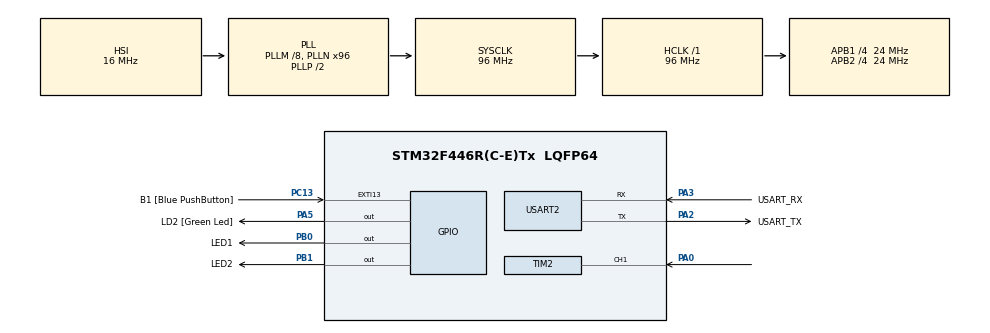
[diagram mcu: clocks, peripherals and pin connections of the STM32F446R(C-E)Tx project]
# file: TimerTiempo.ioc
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Mcu.Family=STM32F4
Mcu.Name=STM32F446R(C-E)Tx
Mcu.Package=LQFP64
NVIC.PriorityGroup=NVIC_PRIORITYGROUP_0
NVIC.TIM2_IRQn=true\:0\:0\:false\:false\:true\:true\:true\:true
NVIC.TIM6_DAC_IRQn=true\:0\:0\:false\:false\:true\:true\:true\:true
NVIC.TIM7_IRQn=true\:0\:0\:false\:false\:true\:true\:true\:true
PA0-WKUP.Signal=S_TIM2_CH1_ETR
PA13.GPIO_Label=TMS
PA13.Signal=SYS_JTMS-SWDIO
PA14.GPIO_Label=TCK
PA14.Signal=SYS_JTCK-SWCLK
PA2.GPIO_Label=USART_TX
PA2.Mode=Asynchronous
PA2.Signal=USART2_TX
PA3.GPIO_Label=USART_RX
PA3.Mode=Asynchronous
PA3.Signal=USART2_RX
PA5.GPIO_Label=LD2 [Green Led]
PA5.Signal=GPIO_Output
PB0.GPIO_Label=LED1
PB0.Signal=GPIO_Output
PB1.GPIO_Label=LED2
PB1.Signal=GPIO_Output
PB3.GPIO_Label=SWO
PB3.Signal=SYS_JTDO-SWO
PC13.GPIO_Label=B1 [Blue PushButton]
PC13.GPIO_ModeDefaultEXTI=GPIO_MODE_IT_FALLING
PC13.Signal=GPXTI13
PC14-OSC32_IN.Signal=RCC_OSC32_IN
PC15-OSC32_OUT.Signal=RCC_OSC32_OUT
PH0-OSC_IN.Signal=RCC_OSC_IN
PH1-OSC_OUT.Signal=RCC_OSC_OUT
ProjectManager.HeapSize=0x200
ProjectManager.StackSize=0x400
ProjectManager.TargetToolchain=STM32CubeIDE
RCC.AHBFreq_Value=96000000
RCC.APB1CLKDivider=RCC_HCLK_DIV4
RCC.APB1Freq_Value=24000000
RCC.APB1TimFreq_Value=48000000
RCC.APB2CLKDivider=RCC_HCLK_DIV4
RCC.APB2Freq_Value=24000000
RCC.APB2TimFreq_Value=48000000
RCC.CortexFreq_Value=96000000
RCC.FLatency-AdvancedSettings=FLASH_LATENCY_3
RCC.HCLKFreq_Value=96000000
RCC.HSE_VALUE=8000000
RCC.HSI_VALUE=16000000
RCC.LSE_VALUE=32768
RCC.PLLM=8
RCC.PLLN=96
RCC.SYSCLKFreq_VALUE=96000000
RCC.SYSCLKSource=RCC_SYSCLKSOURCE_PLLCLK
RCC.USBFreq_Value=96000000
RCC.VCOOutputFreq_Value=192000000
SH.S_TIM2_CH1_ETR.0=TIM2_CH1,Input_Capture1_from_TI1
TIM2.AutoReloadPreload=TIM_AUTORELOAD_PRELOAD_ENABLE
TIM2.Channel-Input_Capture1_from_TI1=TIM_CHANNEL_1
TIM2.Prescaler=48-1
TIM6.AutoReloadPreload=TIM_AUTORELOAD_PRELOAD_ENABLE
TIM6.Period=249
TIM6.Prescaler=47999
TIM7.AutoReloadPreload=TIM_AUTORELOAD_PRELOAD_ENABLE
TIM7.Period=999
TIM7.Prescaler=47999
USART2.VirtualMode=VM_ASYNC
VP_TIM2_VS_ClockSourceINT.Mode=Internal
VP_TIM6_VS_ClockSourceINT.Mode=Enable_Timer
VP_TIM7_VS_ClockSourceINT.Mode=Enable_Timer
board=NUCLEO-F446RE

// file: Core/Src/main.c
/* USER CODE BEGIN Header */
/**
  ******************************************************************************
  * @file           : main.c
  * @brief          : Main program body
  ******************************************************************************
  * @attention
  *
  * Copyright (c) 2026 STMicroelectronics.
  * All rights reserved.
  *
  * This software is licensed under terms that can be found in the LICENSE file
  * in the root directory of this software component.
  * If no LICENSE file comes with this software, it is provided AS-IS.
  *
  ******************************************************************************
  */
/* USER CODE END Header */
#include "main.h"

/* USER CODE BEGIN Includes */
#include <stdio.h>
#include <string.h>
/* USER CODE END Includes */

/* USER CODE BEGIN PD */

#define ftimclk 1000000

/* USER CODE END PD */

TIM_HandleTypeDef htim2;
TIM_HandleTypeDef htim6;
TIM_HandleTypeDef htim7;

UART_HandleTypeDef huart2;

/* USER CODE BEGIN PV */
volatile uint8_t flagMedicion = 0;
volatile uint8_t numFlanco = 0;
volatile uint32_t flanco1 = 0;
volatile uint32_t flanco2 = 0;
uint32_t delta = 0;
float frecuencia = 0;
/* USER CODE END PV */

void SystemClock_Config(void);
static void MX_GPIO_Init(void);
static void MX_TIM2_Init(void);
static void MX_USART2_UART_Init(void);
static void MX_TIM6_Init(void);
static void MX_TIM7_Init(void);

int main(void)
{

  /* MCU Configuration--------------------------------------------------------*/

  /* Reset of all peripherals, Initializes the Flash interface and the Systick. */
  HAL_Init();

  /* Configure the system clock */
  SystemClock_Config();

  /* Initialize all configured peripherals */
  MX_GPIO_Init();
  MX_TIM2_Init();
  MX_USART2_UART_Init();
  MX_TIM6_Init();
  MX_TIM7_Init();

  /* USER CODE BEGIN 2 */
  HAL_TIM_IC_Start_IT(&htim2, TIM_CHANNEL_1);
  HAL_TIM_Base_Start_IT(&htim6);
  HAL_TIM_Base_Start_IT(&htim7);
  /* USER CODE END 2 */

  /* Infinite loop */
  while (1)
  {

    /* USER CODE BEGIN 3 */
      if (flagMedicion == 1)
      {
          flagMedicion = 0;

          if (flanco2 > flanco1)
              delta = flanco2 - flanco1;
          else
              delta = (0xFFFFFFFFU - flanco1) + flanco2 + 1;

          frecuencia = ftimclk / (float)delta;

          char msg[64];
          sprintf(msg, "Frecuencia: %.2f Hz\r\n", frecuencia);
          HAL_UART_Transmit(&huart2, (uint8_t*)msg, strlen(msg), HAL_MAX_DELAY);

          HAL_TIM_IC_Start_IT(&htim2, TIM_CHANNEL_1);
      }
  /* USER CODE END 3 */
  }
}

void SystemClock_Config(void)
{
  RCC_OscInitTypeDef RCC_OscInitStruct = {0};
  RCC_ClkInitTypeDef RCC_ClkInitStruct = {0};

  /** Configure the main internal regulator output voltage
  */
  __HAL_RCC_PWR_CLK_ENABLE();
  __HAL_PWR_VOLTAGESCALING_CONFIG(PWR_REGULATOR_VOLTAGE_SCALE3);

  /** Initializes the RCC Oscillators according to the specified parameters
  * in the RCC_OscInitTypeDef structure.
  */
  RCC_OscInitStruct.OscillatorType = RCC_OSCILLATORTYPE_HSI;
  RCC_OscInitStruct.HSIState = RCC_HSI_ON;
  RCC_OscInitStruct.HSICalibrationValue = RCC_HSICALIBRATION_DEFAULT;
  RCC_OscInitStruct.PLL.PLLState = RCC_PLL_ON;
  RCC_OscInitStruct.PLL.PLLSource = RCC_PLLSOURCE_HSI;
  RCC_OscInitStruct.PLL.PLLM = 8;
  RCC_OscInitStruct.PLL.PLLN = 96;
  RCC_OscInitStruct.PLL.PLLP = RCC_PLLP_DIV2;
  RCC_OscInitStruct.PLL.PLLQ = 2;
  RCC_OscInitStruct.PLL.PLLR = 2;
  if (HAL_RCC_OscConfig(&RCC_OscInitStruct) != HAL_OK)
  {
    Error_Handler();
  }

  /** Initializes the CPU, AHB and APB buses clocks
  */
  RCC_ClkInitStruct.ClockType = RCC_CLOCKTYPE_HCLK|RCC_CLOCKTYPE_SYSCLK
                              |RCC_CLOCKTYPE_PCLK1|RCC_CLOCKTYPE_PCLK2;
  RCC_ClkInitStruct.SYSCLKSource = RCC_SYSCLKSOURCE_PLLCLK;
  RCC_ClkInitStruct.AHBCLKDivider = RCC_SYSCLK_DIV1;
  RCC_ClkInitStruct.APB1CLKDivider = RCC_HCLK_DIV4;
  RCC_ClkInitStruct.APB2CLKDivider = RCC_HCLK_DIV4;

  if (HAL_RCC_ClockConfig(&RCC_ClkInitStruct, FLASH_LATENCY_3) != HAL_OK)
  {
    Error_Handler();
  }
}

static void MX_TIM2_Init(void)
{

  TIM_ClockConfigTypeDef sClockSourceConfig = {0};
  TIM_MasterConfigTypeDef sMasterConfig = {0};
  TIM_IC_InitTypeDef sConfigIC = {0};

  htim2.Instance = TIM2;
  htim2.Init.Prescaler = 48-1;
  htim2.Init.CounterMode = TIM_COUNTERMODE_UP;
  htim2.Init.Period = 4294967295;
  htim2.Init.ClockDivision = TIM_CLOCKDIVISION_DIV1;
  htim2.Init.AutoReloadPreload = TIM_AUTORELOAD_PRELOAD_ENABLE;
  if (HAL_TIM_Base_Init(&htim2) != HAL_OK)
  {
    Error_Handler();
  }
  sClockSourceConfig.ClockSource = TIM_CLOCKSOURCE_INTERNAL;
  if (HAL_TIM_ConfigClockSource(&htim2, &sClockSourceConfig) != HAL_OK)
  {
    Error_Handler();
  }
  if (HAL_TIM_IC_Init(&htim2) != HAL_OK)
  {
    Error_Handler();
  }
  sMasterConfig.MasterOutputTrigger = TIM_TRGO_RESET;
  sMasterConfig.MasterSlaveMode = TIM_MASTERSLAVEMODE_DISABLE;
  if (HAL_TIMEx_MasterConfigSynchronization(&htim2, &sMasterConfig) != HAL_OK)
  {
    Error_Handler();
  }
  sConfigIC.ICPolarity = TIM_INPUTCHANNELPOLARITY_RISING;
  sConfigIC.ICSelection = TIM_ICSELECTION_DIRECTTI;
  sConfigIC.ICPrescaler = TIM_ICPSC_DIV1;
  sConfigIC.ICFilter = 0;
  if (HAL_TIM_IC_ConfigChannel(&htim2, &sConfigIC, TIM_CHANNEL_1) != HAL_OK)
  {
    Error_Handler();
  }

}

static void MX_TIM6_Init(void)
{

  TIM_MasterConfigTypeDef sMasterConfig = {0};

  htim6.Instance = TIM6;
  htim6.Init.Prescaler = 47999;
  htim6.Init.CounterMode = TIM_COUNTERMODE_UP;
  htim6.Init.Period = 249;
  htim6.Init.AutoReloadPreload = TIM_AUTORELOAD_PRELOAD_ENABLE;
  if (HAL_TIM_Base_Init(&htim6) != HAL_OK)
  {
    Error_Handler();
  }
  sMasterConfig.MasterOutputTrigger = TIM_TRGO_RESET;
  sMasterConfig.MasterSlaveMode = TIM_MASTERSLAVEMODE_DISABLE;
  if (HAL_TIMEx_MasterConfigSynchronization(&htim6, &sMasterConfig) != HAL_OK)
  {
    Error_Handler();
  }

}

static void MX_TIM7_Init(void)
{

  TIM_MasterConfigTypeDef sMasterConfig = {0};

  htim7.Instance = TIM7;
  htim7.Init.Prescaler = 47999;
  htim7.Init.CounterMode = TIM_COUNTERMODE_UP;
  htim7.Init.Period = 999;
  htim7.Init.AutoReloadPreload = TIM_AUTORELOAD_PRELOAD_ENABLE;
  if (HAL_TIM_Base_Init(&htim7) != HAL_OK)
  {
    Error_Handler();
  }
  sMasterConfig.MasterOutputTrigger = TIM_TRGO_RESET;
  sMasterConfig.MasterSlaveMode = TIM_MASTERSLAVEMODE_DISABLE;
  if (HAL_TIMEx_MasterConfigSynchronization(&htim7, &sMasterConfig) != HAL_OK)
  {
    Error_Handler();
  }

}

static void MX_USART2_UART_Init(void)
{

  huart2.Instance = USART2;
  huart2.Init.BaudRate = 115200;
  huart2.Init.WordLength = UART_WORDLENGTH_8B;
  huart2.Init.StopBits = UART_STOPBITS_1;
  huart2.Init.Parity = UART_PARITY_NONE;
  huart2.Init.Mode = UART_MODE_TX_RX;
  huart2.Init.HwFlowCtl = UART_HWCONTROL_NONE;
  huart2.Init.OverSampling = UART_OVERSAMPLING_16;
  if (HAL_UART_Init(&huart2) != HAL_OK)
  {
    Error_Handler();
  }

}

static void MX_GPIO_Init(void)
{
  GPIO_InitTypeDef GPIO_InitStruct = {0};

  /* GPIO Ports Clock Enable */
  __HAL_RCC_GPIOC_CLK_ENABLE();
  __HAL_RCC_GPIOH_CLK_ENABLE();
  __HAL_RCC_GPIOA_CLK_ENABLE();
  __HAL_RCC_GPIOB_CLK_ENABLE();

  /*Configure GPIO pin Output Level */
  HAL_GPIO_WritePin(LD2_GPIO_Port, LD2_Pin, GPIO_PIN_RESET);

  /*Configure GPIO pin Output Level */
  HAL_GPIO_WritePin(GPIOB, LED1_Pin|LED2_Pin, GPIO_PIN_RESET);

  /*Configure GPIO pin : B1_Pin */
  GPIO_InitStruct.Pin = B1_Pin;
  GPIO_InitStruct.Mode = GPIO_MODE_IT_FALLING;
  GPIO_InitStruct.Pull = GPIO_NOPULL;
  HAL_GPIO_Init(B1_GPIO_Port, &GPIO_InitStruct);

  /*Configure GPIO pin : LD2_Pin */
  GPIO_InitStruct.Pin = LD2_Pin;
  GPIO_InitStruct.Mode = GPIO_MODE_OUTPUT_PP;
  GPIO_InitStruct.Pull = GPIO_NOPULL;
  GPIO_InitStruct.Speed = GPIO_SPEED_FREQ_LOW;
  HAL_GPIO_Init(LD2_GPIO_Port, &GPIO_InitStruct);

  /*Configure GPIO pins : LED1_Pin LED2_Pin */
  GPIO_InitStruct.Pin = LED1_Pin|LED2_Pin;
  GPIO_InitStruct.Mode = GPIO_MODE_OUTPUT_PP;
  GPIO_InitStruct.Pull = GPIO_NOPULL;
  GPIO_InitStruct.Speed = GPIO_SPEED_FREQ_LOW;
  HAL_GPIO_Init(GPIOB, &GPIO_InitStruct);

}

/* USER CODE BEGIN 4 */
void HAL_TIM_PeriodElapsedCallback(TIM_HandleTypeDef *htim)
{
    if (htim->Instance == TIM6)
    {
        HAL_GPIO_TogglePin(LED1_GPIO_Port, LED1_Pin);
    }
    else if (htim->Instance == TIM7)
    {
        HAL_GPIO_TogglePin(LED2_GPIO_Port, LED2_Pin);
    }
}

void HAL_TIM_IC_CaptureCallback(TIM_HandleTypeDef *htim){

	if (numFlanco == 0) {
		flanco1 = HAL_TIM_ReadCapturedValue(htim, TIM_CHANNEL_1);
		numFlanco = 1;

	}

	else {

		flanco2 = HAL_TIM_ReadCapturedValue(htim, TIM_CHANNEL_1);
		HAL_TIM_IC_Stop(&htim2, TIM_CHANNEL_1);

		numFlanco = 0;
		flagMedicion = 1;

	}

}

/* USER CODE END 4 */

void Error_Handler(void)
{
  __disable_irq();
  while (1)
  {
  }
}
